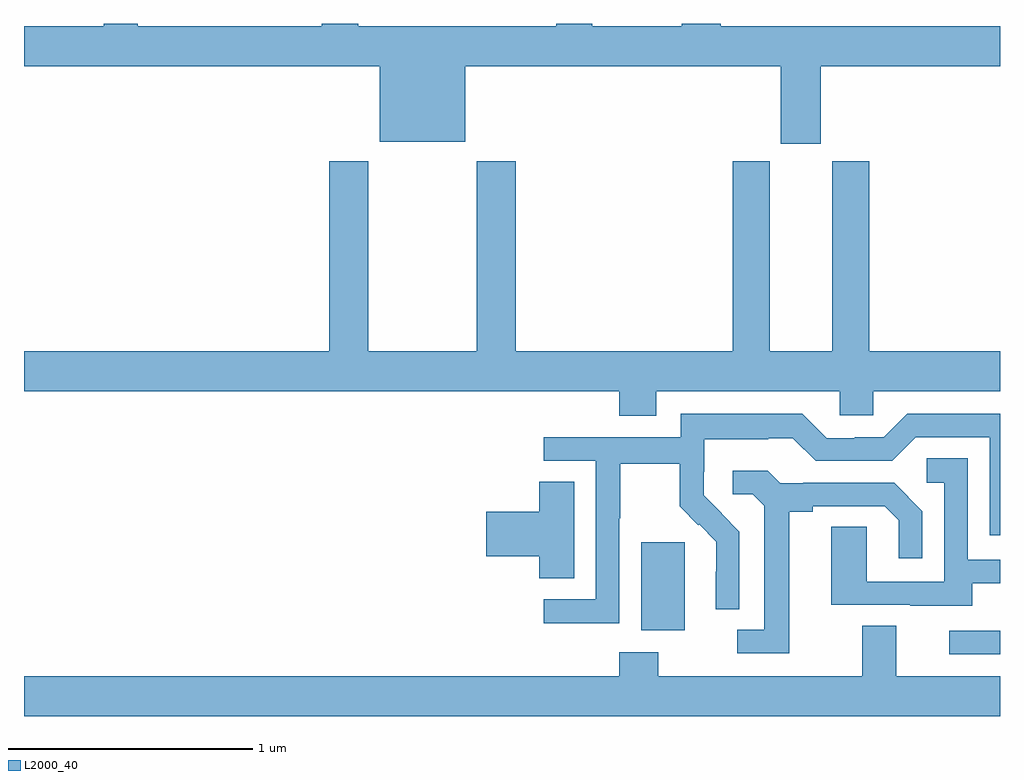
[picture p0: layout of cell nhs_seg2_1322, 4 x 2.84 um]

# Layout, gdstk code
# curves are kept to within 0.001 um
import gdstk
lib = gdstk.Library(unit=1e-6, precision=1e-09)
def R(c, l, rs):  # rectangles x0, y0, x1, y1
    for r in rs: c.add(gdstk.rectangle(r[:2], r[2:], *l))
def P(c, l, *ps):  # polygons
    for p in ps: c.add(gdstk.Polygon(p, *l))
L2000_40 = (2000, 40)

nhs_seg2_1322 = lib.new_cell('nhs_seg2_1322')
R(nhs_seg2_1322, L2000_40, [(182.793,657.216,183,657.312), (181.529,657.314,181.708,657.675)])
P(nhs_seg2_1322, L2000_40, [(182.266,659.624),(183,659.624),(183,659.788),(181.856,659.788),(181.856,659.8),(181.696,659.8),(181.696,659.788),(181.329,659.788),(181.329,659.8),(181.182,659.8),(181.182,659.788),(180.369,659.788),(180.369,659.8),(180.221,659.8),(180.221,659.788),(179.467,659.788),(179.467,659.8),(179.327,659.8),(179.327,659.788),(179,659.788),(179,659.624),(180.458,659.624),(180.458,659.315),(180.808,659.315),(180.808,659.624),(182.102,659.624),(182.102,659.307),(182.266,659.307)],
  [(181.591,658.292),(182.343,658.292),(182.343,658.194),(182.481,658.194),(182.481,658.292),(183,658.292),(183,658.456),(182.465,658.456),(182.465,659.235),(182.312,659.235),(182.312,658.456),(182.056,658.456),(182.056,659.235),(181.904,659.235),(181.904,658.456),(181.016,658.456),(181.016,659.236),(180.856,659.236),(180.856,658.456),(180.411,658.456),(180.411,659.236),(180.251,659.236),(180.251,658.456),(179,658.456),(179,658.292),(181.439,658.292),(181.439,658.193),(181.591,658.193)],
  [(181.44,657.772),(181.443,657.772),(181.443,657.996),(181.687,657.996),(181.687,657.821),(181.764,657.744),(181.767,657.747),(181.838,657.677),(181.838,657.554),(181.836,657.554),(181.836,657.4),(181.932,657.4),(181.932,657.718),(181.786,657.866),(181.786,657.963),(181.788,657.963),(181.788,658.097),(182.051,658.097),(182.051,658.101),(182.151,658.101),(182.244,658.008),(182.559,658.008),(182.655,658.104),(182.958,658.104),(182.958,657.702),(183,657.702),(183,658.2),(182.619,658.2),(182.523,658.104),(182.405,658.104),(182.405,658.101),(182.289,658.101),(182.189,658.201),(181.692,658.201),(181.692,658.104),(181.131,658.104),(181.131,658.008),(181.344,658.008),(181.344,657.441),(181.131,657.441),(181.131,657.343),(181.44,657.343)],
  [(182.887,657.507),(183,657.507),(183,657.603),(182.868,657.603),(182.868,658.019),(182.7,658.019),(182.7,657.918),(182.772,657.918),(182.772,657.513),(182.454,657.513),(182.454,657.737),(182.309,657.737),(182.309,657.417),(182.633,657.417),(182.633,657.413),(182.887,657.413)],
  [(182.137,657.8),(182.233,657.8),(182.233,657.822),(182.528,657.822),(182.585,657.765),(182.585,657.609),(182.682,657.609),(182.682,657.802),(182.566,657.918),(182.194,657.918),(182.194,657.915),(182.1,657.915),(182.048,657.967),(181.905,657.967),(181.905,657.87),(181.986,657.87),(182.033,657.823),(182.033,657.315),(181.923,657.315),(181.923,657.219),(182.137,657.219)],
  [(181.255,657.923),(181.112,657.923),(181.112,657.8),(180.894,657.8),(180.894,657.617),(181.112,657.617),(181.112,657.526),(181.255,657.526)],
  [(183,657.124),(182.575,657.124),(182.575,657.332),(182.435,657.332),(182.435,657.124),(181.599,657.124),(181.599,657.223),(181.439,657.223),(181.439,657.124),(179,657.124),(179,656.96),(183,656.96)])

lib.write_gds('nhs_seg2_1322.gds')
